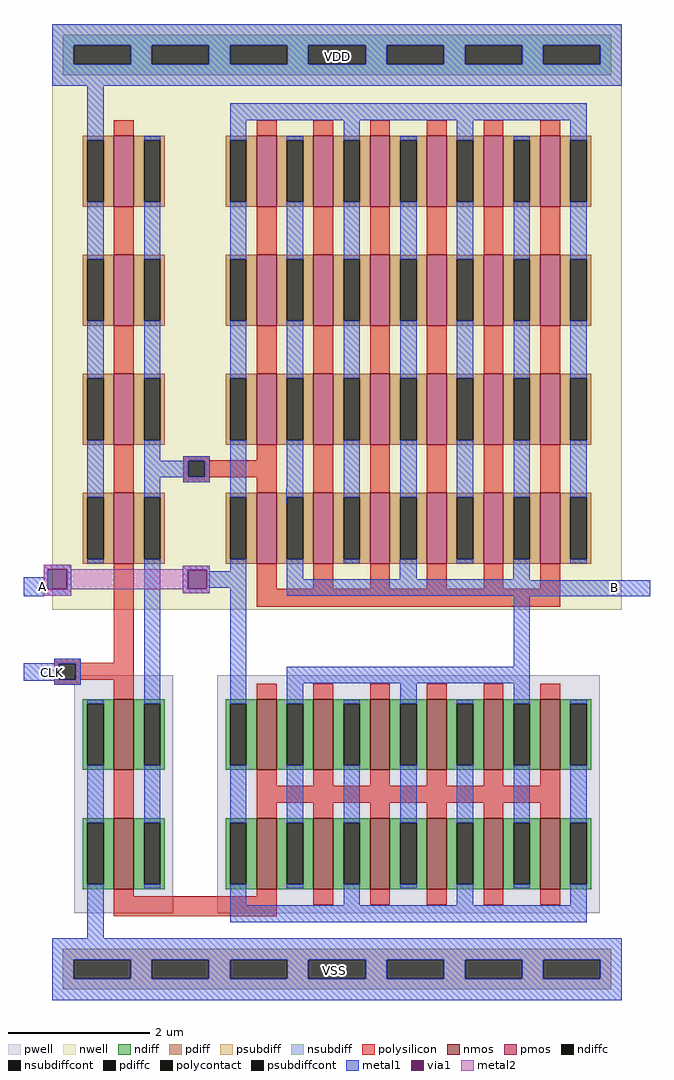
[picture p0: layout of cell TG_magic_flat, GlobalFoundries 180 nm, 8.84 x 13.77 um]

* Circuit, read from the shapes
.subckt TG_magic_flat B VDD VSS CLK A
XM1 n1 CLK VSS VSS nfet_03v3 w=1u l=0.28u m=2
XM2 B CLK A VSS nfet_03v3 w=1u l=0.28u m=12
XM3 n1 CLK VDD VDD pfet_03v3 w=1u l=0.28u m=4
XM4 B n1 A VDD pfet_03v3 w=1u l=0.28u m=24
.ends

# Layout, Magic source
magic
tech gf180mcuC
magscale 1 10
<< nwell >>
rect 37 220 1644 1873
<< pwell >>
rect 99 -636 379 36
rect 502 -636 1582 36
<< nmos >>
rect 211 -232 267 -32
rect 614 -232 670 -32
rect 774 -232 830 -32
rect 934 -232 990 -32
rect 1094 -232 1150 -32
rect 1254 -232 1310 -32
rect 1414 -232 1470 -32
rect 211 -568 267 -368
rect 614 -568 670 -368
rect 774 -568 830 -368
rect 934 -568 990 -368
rect 1094 -568 1150 -368
rect 1254 -568 1310 -368
rect 1414 -568 1470 -368
<< pmos >>
rect 211 1358 267 1558
rect 614 1358 670 1558
rect 774 1358 830 1558
rect 934 1358 990 1558
rect 1094 1358 1150 1558
rect 1254 1358 1310 1558
rect 1414 1358 1470 1558
rect 211 1022 267 1222
rect 614 1022 670 1222
rect 774 1022 830 1222
rect 934 1022 990 1222
rect 1094 1022 1150 1222
rect 1254 1022 1310 1222
rect 1414 1022 1470 1222
rect 211 686 267 886
rect 614 686 670 886
rect 774 686 830 886
rect 934 686 990 886
rect 1094 686 1150 886
rect 1254 686 1310 886
rect 1414 686 1470 886
rect 211 350 267 550
rect 614 350 670 550
rect 774 350 830 550
rect 934 350 990 550
rect 1094 350 1150 550
rect 1254 350 1310 550
rect 1414 350 1470 550
<< ndiff >>
rect 123 -45 211 -32
rect 123 -219 136 -45
rect 182 -219 211 -45
rect 123 -232 211 -219
rect 267 -45 355 -32
rect 267 -219 296 -45
rect 342 -219 355 -45
rect 267 -232 355 -219
rect 526 -45 614 -32
rect 526 -219 539 -45
rect 585 -219 614 -45
rect 526 -232 614 -219
rect 670 -45 774 -32
rect 670 -219 699 -45
rect 745 -219 774 -45
rect 670 -232 774 -219
rect 830 -45 934 -32
rect 830 -219 859 -45
rect 905 -219 934 -45
rect 830 -232 934 -219
rect 990 -45 1094 -32
rect 990 -219 1019 -45
rect 1065 -219 1094 -45
rect 990 -232 1094 -219
rect 1150 -45 1254 -32
rect 1150 -219 1179 -45
rect 1225 -219 1254 -45
rect 1150 -232 1254 -219
rect 1310 -45 1414 -32
rect 1310 -219 1339 -45
rect 1385 -219 1414 -45
rect 1310 -232 1414 -219
rect 1470 -45 1558 -32
rect 1470 -219 1499 -45
rect 1545 -219 1558 -45
rect 1470 -232 1558 -219
rect 123 -381 211 -368
rect 123 -555 136 -381
rect 182 -555 211 -381
rect 123 -568 211 -555
rect 267 -381 355 -368
rect 267 -555 296 -381
rect 342 -555 355 -381
rect 267 -568 355 -555
rect 526 -381 614 -368
rect 526 -555 539 -381
rect 585 -555 614 -381
rect 526 -568 614 -555
rect 670 -381 774 -368
rect 670 -555 699 -381
rect 745 -555 774 -381
rect 670 -568 774 -555
rect 830 -381 934 -368
rect 830 -555 859 -381
rect 905 -555 934 -381
rect 830 -568 934 -555
rect 990 -381 1094 -368
rect 990 -555 1019 -381
rect 1065 -555 1094 -381
rect 990 -568 1094 -555
rect 1150 -381 1254 -368
rect 1150 -555 1179 -381
rect 1225 -555 1254 -381
rect 1150 -568 1254 -555
rect 1310 -381 1414 -368
rect 1310 -555 1339 -381
rect 1385 -555 1414 -381
rect 1310 -568 1414 -555
rect 1470 -381 1558 -368
rect 1470 -555 1499 -381
rect 1545 -555 1558 -381
rect 1470 -568 1558 -555
<< pdiff >>
rect 123 1545 211 1558
rect 123 1371 136 1545
rect 182 1371 211 1545
rect 123 1358 211 1371
rect 267 1545 355 1558
rect 267 1371 296 1545
rect 342 1371 355 1545
rect 267 1358 355 1371
rect 526 1545 614 1558
rect 526 1371 539 1545
rect 585 1371 614 1545
rect 526 1358 614 1371
rect 670 1545 774 1558
rect 670 1371 699 1545
rect 745 1371 774 1545
rect 670 1358 774 1371
rect 830 1545 934 1558
rect 830 1371 859 1545
rect 905 1371 934 1545
rect 830 1358 934 1371
rect 990 1545 1094 1558
rect 990 1371 1019 1545
rect 1065 1371 1094 1545
rect 990 1358 1094 1371
rect 1150 1545 1254 1558
rect 1150 1371 1179 1545
rect 1225 1371 1254 1545
rect 1150 1358 1254 1371
rect 1310 1545 1414 1558
rect 1310 1371 1339 1545
rect 1385 1371 1414 1545
rect 1310 1358 1414 1371
rect 1470 1545 1558 1558
rect 1470 1371 1499 1545
rect 1545 1371 1558 1545
rect 1470 1358 1558 1371
rect 123 1209 211 1222
rect 123 1035 136 1209
rect 182 1035 211 1209
rect 123 1022 211 1035
rect 267 1209 355 1222
rect 267 1035 296 1209
rect 342 1035 355 1209
rect 267 1022 355 1035
rect 526 1209 614 1222
rect 526 1035 539 1209
rect 585 1035 614 1209
rect 526 1022 614 1035
rect 670 1209 774 1222
rect 670 1035 699 1209
rect 745 1035 774 1209
rect 670 1022 774 1035
rect 830 1209 934 1222
rect 830 1035 859 1209
rect 905 1035 934 1209
rect 830 1022 934 1035
rect 990 1209 1094 1222
rect 990 1035 1019 1209
rect 1065 1035 1094 1209
rect 990 1022 1094 1035
rect 1150 1209 1254 1222
rect 1150 1035 1179 1209
rect 1225 1035 1254 1209
rect 1150 1022 1254 1035
rect 1310 1209 1414 1222
rect 1310 1035 1339 1209
rect 1385 1035 1414 1209
rect 1310 1022 1414 1035
rect 1470 1209 1558 1222
rect 1470 1035 1499 1209
rect 1545 1035 1558 1209
rect 1470 1022 1558 1035
rect 123 873 211 886
rect 123 699 136 873
rect 182 699 211 873
rect 123 686 211 699
rect 267 873 355 886
rect 267 699 296 873
rect 342 699 355 873
rect 267 686 355 699
rect 526 873 614 886
rect 526 699 539 873
rect 585 699 614 873
rect 526 686 614 699
rect 670 873 774 886
rect 670 699 699 873
rect 745 699 774 873
rect 670 686 774 699
rect 830 873 934 886
rect 830 699 859 873
rect 905 699 934 873
rect 830 686 934 699
rect 990 873 1094 886
rect 990 699 1019 873
rect 1065 699 1094 873
rect 990 686 1094 699
rect 1150 873 1254 886
rect 1150 699 1179 873
rect 1225 699 1254 873
rect 1150 686 1254 699
rect 1310 873 1414 886
rect 1310 699 1339 873
rect 1385 699 1414 873
rect 1310 686 1414 699
rect 1470 873 1558 886
rect 1470 699 1499 873
rect 1545 699 1558 873
rect 1470 686 1558 699
rect 123 537 211 550
rect 123 363 136 537
rect 182 363 211 537
rect 123 350 211 363
rect 267 537 355 550
rect 267 363 296 537
rect 342 363 355 537
rect 267 350 355 363
rect 526 537 614 550
rect 526 363 539 537
rect 585 363 614 537
rect 526 350 614 363
rect 670 537 774 550
rect 670 363 699 537
rect 745 363 774 537
rect 670 350 774 363
rect 830 537 934 550
rect 830 363 859 537
rect 905 363 934 537
rect 830 350 934 363
rect 990 537 1094 550
rect 990 363 1019 537
rect 1065 363 1094 537
rect 990 350 1094 363
rect 1150 537 1254 550
rect 1150 363 1179 537
rect 1225 363 1254 537
rect 1150 350 1254 363
rect 1310 537 1414 550
rect 1310 363 1339 537
rect 1385 363 1414 537
rect 1310 350 1414 363
rect 1470 537 1558 550
rect 1470 363 1499 537
rect 1545 363 1558 537
rect 1470 350 1558 363
<< ndiffc >>
rect 136 -219 182 -45
rect 296 -219 342 -45
rect 539 -219 585 -45
rect 699 -219 745 -45
rect 859 -219 905 -45
rect 1019 -219 1065 -45
rect 1179 -219 1225 -45
rect 1339 -219 1385 -45
rect 1499 -219 1545 -45
rect 136 -555 182 -381
rect 296 -555 342 -381
rect 539 -555 585 -381
rect 699 -555 745 -381
rect 859 -555 905 -381
rect 1019 -555 1065 -381
rect 1179 -555 1225 -381
rect 1339 -555 1385 -381
rect 1499 -555 1545 -381
<< pdiffc >>
rect 136 1371 182 1545
rect 296 1371 342 1545
rect 539 1371 585 1545
rect 699 1371 745 1545
rect 859 1371 905 1545
rect 1019 1371 1065 1545
rect 1179 1371 1225 1545
rect 1339 1371 1385 1545
rect 1499 1371 1545 1545
rect 136 1035 182 1209
rect 296 1035 342 1209
rect 539 1035 585 1209
rect 699 1035 745 1209
rect 859 1035 905 1209
rect 1019 1035 1065 1209
rect 1179 1035 1225 1209
rect 1339 1035 1385 1209
rect 1499 1035 1545 1209
rect 136 699 182 873
rect 296 699 342 873
rect 539 699 585 873
rect 699 699 745 873
rect 859 699 905 873
rect 1019 699 1065 873
rect 1179 699 1225 873
rect 1339 699 1385 873
rect 1499 699 1545 873
rect 136 363 182 537
rect 296 363 342 537
rect 539 363 585 537
rect 699 363 745 537
rect 859 363 905 537
rect 1019 363 1065 537
rect 1179 363 1225 537
rect 1339 363 1385 537
rect 1499 363 1545 537
<< psubdiff >>
rect 67 -767 1614 -737
rect 67 -821 97 -767
rect 258 -821 318 -767
rect 479 -821 539 -767
rect 700 -821 760 -767
rect 921 -821 981 -767
rect 1142 -821 1202 -767
rect 1363 -821 1423 -767
rect 1584 -821 1614 -767
rect 67 -851 1614 -821
<< nsubdiff >>
rect 67 1813 1614 1843
rect 67 1759 97 1813
rect 258 1759 318 1813
rect 479 1759 539 1813
rect 700 1759 760 1813
rect 921 1759 981 1813
rect 1142 1759 1202 1813
rect 1363 1759 1423 1813
rect 1584 1759 1614 1813
rect 67 1729 1614 1759
<< psubdiffcont >>
rect 97 -821 258 -767
rect 318 -821 479 -767
rect 539 -821 700 -767
rect 760 -821 921 -767
rect 981 -821 1142 -767
rect 1202 -821 1363 -767
rect 1423 -821 1584 -767
<< nsubdiffcont >>
rect 97 1759 258 1813
rect 318 1759 479 1813
rect 539 1759 700 1813
rect 760 1759 921 1813
rect 981 1759 1142 1813
rect 1202 1759 1363 1813
rect 1423 1759 1584 1813
<< polysilicon >>
rect 211 1558 267 1602
rect 614 1558 670 1602
rect 774 1558 830 1602
rect 934 1558 990 1602
rect 1094 1558 1150 1602
rect 1254 1558 1310 1602
rect 1414 1558 1470 1602
rect 211 1222 267 1358
rect 614 1222 670 1358
rect 774 1222 830 1358
rect 934 1222 990 1358
rect 1094 1222 1150 1358
rect 1254 1222 1310 1358
rect 1414 1222 1470 1358
rect 211 886 267 1022
rect 614 886 670 1022
rect 774 886 830 1022
rect 934 886 990 1022
rect 1094 886 1150 1022
rect 1254 886 1310 1022
rect 1414 886 1470 1022
rect 211 550 267 686
rect 406 642 481 654
rect 614 642 670 686
rect 406 641 670 642
rect 406 595 421 641
rect 467 595 670 641
rect 406 594 670 595
rect 406 580 481 594
rect 614 550 670 594
rect 774 550 830 686
rect 934 550 990 686
rect 1094 550 1150 686
rect 1254 550 1310 686
rect 1414 550 1470 686
rect 42 70 118 82
rect 211 70 267 350
rect 614 279 670 350
rect 774 279 830 350
rect 934 279 990 350
rect 1094 279 1150 350
rect 1254 279 1310 350
rect 1414 279 1470 350
rect 614 229 1471 279
rect 42 68 267 70
rect 42 22 56 68
rect 104 22 267 68
rect 42 9 118 22
rect 211 -32 267 22
rect 614 -32 670 12
rect 774 -32 830 12
rect 934 -32 990 12
rect 1094 -32 1150 12
rect 1254 -32 1310 12
rect 1414 -32 1470 12
rect 211 -368 267 -232
rect 614 -276 670 -232
rect 774 -276 830 -232
rect 934 -276 990 -232
rect 1094 -276 1150 -232
rect 1254 -276 1310 -232
rect 1414 -276 1470 -232
rect 614 -324 1470 -276
rect 614 -368 670 -324
rect 774 -368 830 -324
rect 934 -368 990 -324
rect 1094 -368 1150 -324
rect 1254 -368 1310 -324
rect 1414 -368 1470 -324
rect 211 -588 267 -568
rect 614 -588 670 -568
rect 211 -644 670 -588
rect 774 -612 830 -568
rect 934 -612 990 -568
rect 1094 -612 1150 -568
rect 1254 -612 1310 -568
rect 1414 -612 1470 -568
<< polycontact >>
rect 421 595 467 641
rect 56 22 104 68
<< metal1 >>
rect 37 1813 1644 1873
rect 37 1759 97 1813
rect 258 1759 318 1813
rect 479 1759 539 1813
rect 700 1759 760 1813
rect 921 1759 981 1813
rect 1142 1759 1202 1813
rect 1363 1759 1423 1813
rect 1584 1759 1644 1813
rect 37 1699 1644 1759
rect 136 1545 182 1699
rect 539 1602 1545 1650
rect 136 1209 182 1371
rect 136 873 182 1035
rect 136 537 182 699
rect 136 352 182 363
rect 296 1545 342 1556
rect 296 1209 342 1371
rect 296 873 342 1035
rect 296 640 342 699
rect 539 1545 585 1602
rect 539 1209 585 1371
rect 539 873 585 1035
rect 406 641 481 654
rect 406 640 421 641
rect 296 595 421 640
rect 467 595 481 641
rect 296 594 481 595
rect 296 537 342 594
rect 406 580 481 594
rect 13 334 90 347
rect 13 312 24 334
rect -43 278 24 312
rect 80 278 90 334
rect -43 259 90 278
rect -43 258 13 259
rect 42 69 118 82
rect -43 68 118 69
rect -43 22 56 68
rect 104 22 118 68
rect -43 20 118 22
rect 42 9 118 20
rect 136 -45 182 -34
rect 136 -381 182 -219
rect 136 -707 182 -555
rect 296 -45 342 363
rect 539 537 585 699
rect 699 1545 745 1556
rect 699 1209 745 1371
rect 699 873 745 1035
rect 699 565 745 699
rect 698 537 745 565
rect 698 519 699 537
rect 405 333 482 345
rect 405 279 419 333
rect 473 329 482 333
rect 539 329 585 363
rect 473 282 585 329
rect 473 279 482 282
rect 405 267 482 279
rect 296 -381 342 -219
rect 296 -566 342 -555
rect 539 -45 585 282
rect 699 306 745 363
rect 859 1545 905 1602
rect 859 1209 905 1371
rect 859 873 905 1035
rect 859 537 905 699
rect 1019 1545 1065 1556
rect 1019 1209 1065 1371
rect 1019 873 1065 1035
rect 1019 537 1065 699
rect 859 352 905 363
rect 1018 306 1065 363
rect 1179 1545 1225 1602
rect 1179 1209 1225 1371
rect 1179 873 1225 1035
rect 1179 537 1225 699
rect 1339 1545 1385 1556
rect 1339 1209 1385 1371
rect 1339 873 1385 1035
rect 1339 537 1385 699
rect 1179 352 1225 363
rect 1338 306 1385 363
rect 1499 1545 1545 1602
rect 1499 1209 1545 1371
rect 1499 873 1545 1035
rect 1499 537 1545 699
rect 1499 352 1545 363
rect 699 304 1385 306
rect 699 260 1724 304
rect 1339 258 1724 260
rect 1339 60 1385 258
rect 539 -381 585 -219
rect 539 -613 585 -555
rect 699 13 1385 60
rect 699 -45 745 13
rect 699 -381 745 -219
rect 699 -566 745 -555
rect 859 -45 905 -34
rect 859 -381 905 -219
rect 859 -613 905 -555
rect 1019 -45 1065 13
rect 1019 -381 1065 -219
rect 1019 -566 1065 -555
rect 1179 -45 1225 -34
rect 1179 -381 1225 -219
rect 1179 -613 1225 -555
rect 1339 -45 1385 13
rect 1339 -381 1385 -219
rect 1339 -566 1385 -555
rect 1499 -45 1545 -34
rect 1499 -381 1545 -219
rect 1499 -613 1545 -555
rect 539 -661 1545 -613
rect 37 -767 1644 -707
rect 37 -821 97 -767
rect 258 -821 318 -767
rect 479 -821 539 -767
rect 700 -821 760 -767
rect 921 -821 981 -767
rect 1142 -821 1202 -767
rect 1363 -821 1423 -767
rect 1584 -821 1644 -767
rect 37 -881 1644 -821
<< via1 >>
rect 24 278 80 334
rect 419 279 473 333
<< metal2 >>
rect 13 334 90 347
rect 405 334 482 345
rect 13 278 24 334
rect 80 333 482 334
rect 80 279 419 333
rect 473 279 482 333
rect 80 278 482 279
rect 13 259 90 278
rect 405 267 482 278
<< labels >>
flabel metal1 1624 282 1624 282 0 FreeSans 800 0 0 0 B
port 12 nsew
flabel nsubdiffcont 842 1781 842 1781 0 FreeSans 800 0 0 0 VDD
port 13 nsew
flabel psubdiffcont 833 -798 833 -798 0 FreeSans 800 0 0 0 VSS
port 14 nsew
flabel metal1 38 42 38 42 0 FreeSans 800 0 0 0 CLK
port 15 nsew
flabel metal1 10 287 10 287 0 FreeSans 800 0 0 0 A
port 17 nsew
<< end >>
